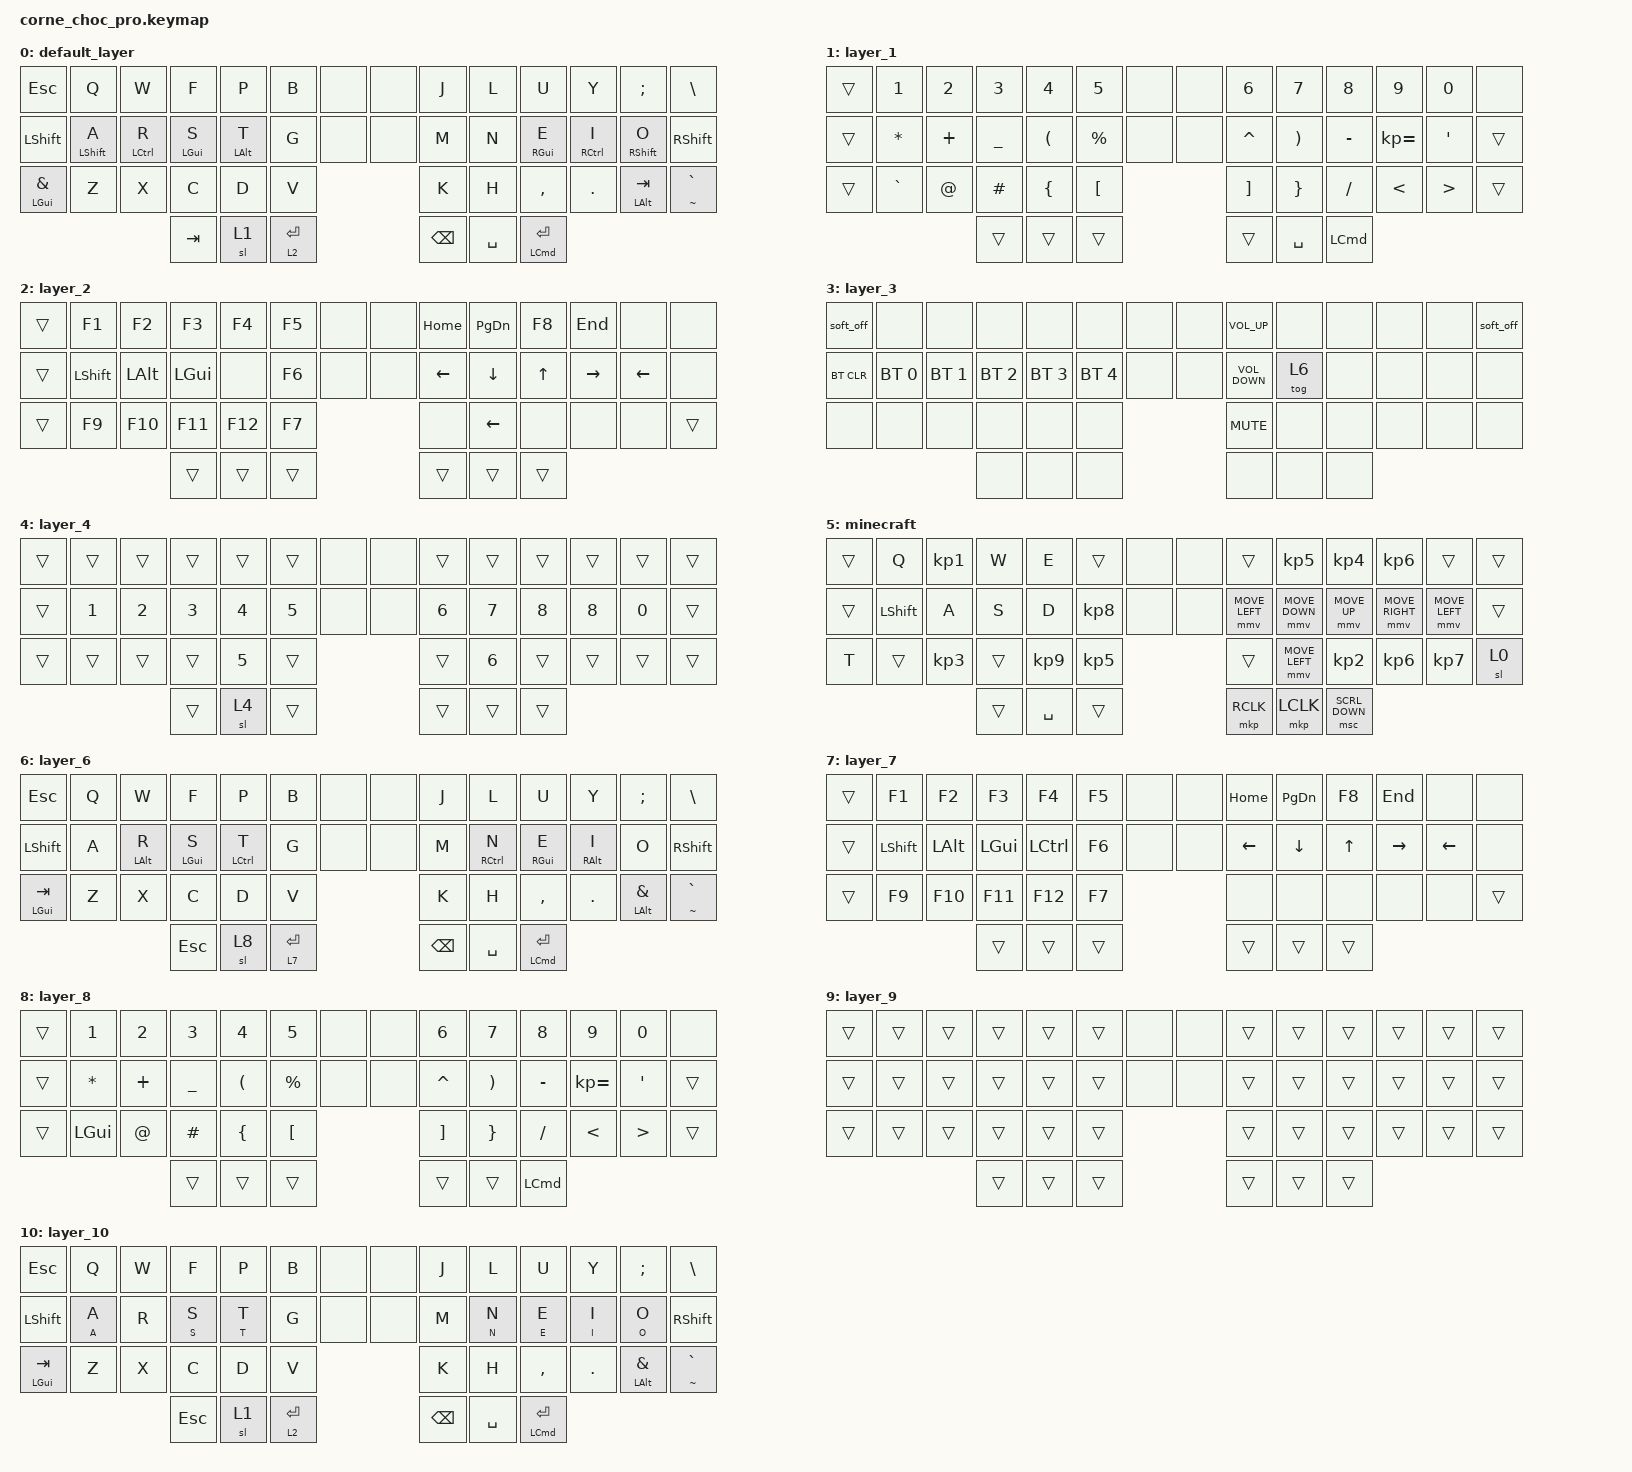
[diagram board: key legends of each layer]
/*
 * Copyright (c) 2020 The ZMK Contributors
 *
 * SPDX-License-Identifier: MIT
 */

#include <dt-bindings/zmk/mouse.h>
#include <behaviors.dtsi>
#include <dt-bindings/zmk/bt.h>
#include <dt-bindings/zmk/keys.h>
#include <dt-bindings/zmk/pointing.h>

#define ZMK_POINTING_DEFAULT_MOVE_VAL 1500
#define ZMK_POINTING_DEFAULT_SCRL_VAL 20

/ {
    chosen { zmk,physical-layout = &default_layout; };
};

/ {
    behaviors {
        mt_index_left: mt_index_left {
            compatible = "zmk,behavior-hold-tap";
            label = "MT_INDEX_LEFT";
            #binding-cells = <2>;
            tapping-term-ms = <500>;
            require-prior-idle-ms = <100>;
            flavor = "tap-preferred";
            quick-tap-ms = <50>;
            bindings = <&kp>, <&kp>;
        };

        mt_index_right: mt_index_right {
            compatible = "zmk,behavior-hold-tap";
            label = "MT_INDEX_RIGHT";
            #binding-cells = <2>;
            tapping-term-ms = <500>;
            require-prior-idle-ms = <100>;
            flavor = "tap-preferred";
            quick-tap-ms = <50>;
            bindings = <&kp>, <&kp>;
        };

        backspace_delete: backspace_delete {
            compatible = "zmk,behavior-mod-morph";
            label = "BACKSPACE_DELETE";
            bindings = <&kp BACKSPACE>, <&kp DELETE>;

            #binding-cells = <0>;
            mods = <(MOD_LSFT)>;
        };

        capslock_layer1: capslock_layer1 {
            compatible = "zmk,behavior-tap-dance";
            label = "CAPSLOCK_LAYER1";
            #binding-cells = <0>;
            bindings = <&mo 1>, <&kp CAPSLOCK>;
        };
    };

    /*
     * Position map (46-key default_layout):
     * Row 1:  0   1   2   3   4   5  [6   7]  8   9  10  11  12  13
     * Row 2: 14  15  16  17  18  19  [20  21] 22  23  24  25  26  27
     * Row 3: 28  29  30  31  32  33              34  35  36  37  38  39
     * Thumb: 40  41  42                          43  44  45
     * [6,7] and [20,21] are the extra center keys, bound to &none
     *
     * Original 42-key → new position remapping:
     *   Row1 left  (0-5):   same
     *   Row1 right (6-11):  +2  → 8-13
     *   Row2 left  (12-17): +2  → 14-19
     *   Row2 right (18-23): +4  → 22-27
     *   Row3       (24-35): +4  → 28-39
     *   Thumbs     (36-41): +4  → 40-45
     */

    combos {
        compatible = "zmk,combos";
        combo_timeout = <25>;

        mo_layer3 {
            bindings = <&mo 3>;
            key-positions = <41 42>;   /* was <37 38> thumbs left 1,2 */
        };

        layer-3-right {
            bindings = <&mo 3>;
            key-positions = <43 44>;   /* was <39 40> thumbs right 0,1 */
        };

        lparen {
            bindings = <&kp QUESTION>;
            key-positions = <18 17>;   /* was <16 15> row2 left cols 4,3 */
            timeout-ms = <20>;
        };

        exclam {
            bindings = <&kp EXCLAMATION>;
            key-positions = <23 24>;   /* was <19 20> row2 right cols 1,2 */
            timeout-ms = <20>;
        };

        backslash {
            bindings = <&kp BACKSLASH>;
            key-positions = <18 23>;   /* was <16 19> */
            timeout-ms = <20>;
        };

        dollar {
            bindings = <&kp DOLLAR>;
            key-positions = <17 24>;   /* was <15 20> */
            timeout-ms = <20>;
        };

        pipe {
            bindings = <&kp PIPE>;
            key-positions = <15 26>;   /* was <13 22> row2 cols 1,10 */
            timeout-ms = <20>;
        };

        tab {
            bindings = <&kp TAB>;
            key-positions = <44 40>;   /* was <40 36> thumbs right1, left0 */
            timeout-ms = <20>;
        };

        minecraffft {
            bindings = <&tog 5>;
            key-positions = <14 27>;   /* was <12 23> row2 cols 0,11 */
        };

        actuallymct {
            bindings = <&to 10>;
            key-positions = <2 16 17 3>;  /* was <2 14 15 3> */
        };

        esc {
            bindings = <&kp ESC>;
            key-positions = <17 23>;   /* was <15 19> */
        };
    };

    macros {
        teleport: teleport {
            compatible = "zmk,behavior-macro";
            #binding-cells = <0>;
            bindings = <&mkp RCLK &mkp RCLK &mkp RCLK>;
            label = "TELEPORT";
        };
    };

    keymap {
        compatible = "zmk,keymap";

        /* Each row1 and row2 has 14 bindings (6 left + 2 none + 6 right).
         * Row3 has 12 (6 left + 6 right, no center gap in binding array).
         * Thumbs: 3 left + 3 right = 6. Total: 46. */

        default_layer {
            bindings = <
&kp ESC                 &kp Q                        &kp W                   &kp F                      &kp P                  &kp B        &none  &none  &kp J          &kp L      &kp U                       &kp Y                   &kp SEMICOLON                  &kp BACKSLASH
&kp LEFT_SHIFT          &mt_index_left LEFT_SHIFT A  &mt_index_left LCTRL R  &mt_index_left LEFT_GUI S  &mt_index_left LALT T  &kp G        &none  &none  &kp M          &kp N      &mt_index_left RIGHT_GUI E  &mt_index_left RCTRL I  &mt_index_right RIGHT_SHIFT O  &kp RIGHT_SHIFT
&mt LEFT_GUI AMPERSAND  &kp Z                        &kp X                   &kp C                      &kp D                  &kp V                      &kp K          &kp H      &kp COMMA                   &kp DOT                 &mt LEFT_ALT TAB               &mt TILDE GRAVE
                                                                             &kp TAB                    &sl 1                  &lt 2 ENTER                &kp BACKSPACE  &kp SPACE  &mt LEFT_COMMAND ENTER
            >;
        };

        layer_1 {
            bindings = <
&trans  &kp NUMBER_1  &kp NUMBER_2  &kp NUMBER_3  &kp NUMBER_4          &kp N5            &none  &none  &kp NUMBER_6       &kp N7                 &kp N8     &kp N9        &kp N0            &none
&trans  &kp STAR      &kp PLUS      &kp UNDER     &kp LEFT_PARENTHESIS  &kp PERCENT       &none  &none  &kp CARET          &kp RIGHT_PARENTHESIS  &kp MINUS  &kp KP_EQUAL  &kp SINGLE_QUOTE  &trans
&trans  &kp GRAVE     &kp AT        &kp POUND     &kp LEFT_BRACE        &kp LEFT_BRACKET                &kp RIGHT_BRACKET  &kp RIGHT_BRACE        &kp FSLH   &kp LT        &kp GT            &trans
                                    &trans        &trans                &trans                          &trans             &kp SPACE              &kp LCMD
            >;
        };

        layer_2 {
            bindings = <
&trans  &kp F1          &kp F2        &kp F3        &kp F4   &kp F5  &none  &none  &kp HOME  &kp PAGE_DOWN   &kp F8        &kp END    &none           &none
&trans  &kp LEFT_SHIFT  &kp LEFT_ALT  &kp LEFT_GUI  &none    &kp F6  &none  &none  &kp LEFT  &kp DOWN_ARROW  &kp UP_ARROW  &kp RIGHT  &kp LEFT_ARROW  &none
&trans  &kp F9          &kp F10       &kp F11       &kp F12  &kp F7                &none     &kp LEFT_ARROW  &none         &none      &none           &trans
                                      &trans        &trans   &trans                &trans    &trans          &trans
            >;
        };

        layer_3 {
            bindings = <
&soft_off   &none         &none         &none         &none         &none         &none  &none  &kp C_VOLUME_UP    &none   &none  &none  &none  &soft_off
&bt BT_CLR  &bt BT_SEL 0  &bt BT_SEL 1  &bt BT_SEL 2  &bt BT_SEL 3  &bt BT_SEL 4  &none  &none  &kp C_VOLUME_DOWN  &tog 6  &none  &none  &none  &none
&none       &none         &none         &none         &none         &none                       &kp K_MUTE         &none   &none  &none  &none  &none
                                        &none         &none         &none                       &none              &none   &none
            >;
        };

        layer_4 {
            bindings = <
&trans  &trans        &trans        &trans        &trans        &trans  &none  &none  &trans        &trans        &trans        &trans  &trans  &trans
&trans  &kp NUMBER_1  &kp NUMBER_2  &kp NUMBER_3  &kp NUMBER_4  &kp N5  &none  &none  &kp NUMBER_6  &kp N7        &kp NUMBER_8  &kp N8  &kp N0  &trans
&trans  &trans        &trans        &trans        &kp NUMBER_5  &trans                &trans        &kp NUMBER_6  &trans        &trans  &trans  &trans
                                    &trans        &sl 4         &trans                &trans        &trans        &trans
            >;
        };

        minecraft {
            bindings = <
&trans  &kp Q           &kp KP_NUMBER_1  &kp W   &kp E            &trans           &none  &none  &trans          &kp KP_NUMBER_5  &kp KP_N4        &kp KP_NUMBER_6  &trans          &trans
&trans  &kp LEFT_SHIFT  &kp A            &kp S   &kp D            &kp KP_NUMBER_8  &none  &none  &mmv MOVE_LEFT  &mmv MOVE_DOWN   &mmv MOVE_UP     &mmv MOVE_RIGHT  &mmv MOVE_LEFT  &trans
&kp T   &trans          &kp KP_NUMBER_3  &trans  &kp KP_NUMBER_9  &kp KP_NUMBER_5                &trans          &mmv MOVE_LEFT   &kp KP_NUMBER_2  &kp KP_N6        &kp KP_N7       &sl 0
                                         &trans  &kp SPACE        &trans                         &mkp RCLK       &mkp LCLK        &msc SCRL_DOWN
            >;
        };

        layer_6 {
            bindings = <
&kp ESC           &kp Q  &kp W                  &kp F                      &kp P                   &kp B        &none  &none  &kp J          &kp L                   &kp U                       &kp Y                  &kp SEMICOLON           &kp BACKSLASH
&kp LEFT_SHIFT    &kp A  &mt_index_left LALT R  &mt_index_left LEFT_GUI S  &mt_index_left LCTRL T  &kp G        &none  &none  &kp M          &mt_index_left RCTRL N  &mt_index_left RIGHT_GUI E  &mt_index_left RALT I  &kp O                   &kp RIGHT_SHIFT
&mt LEFT_GUI TAB  &kp Z  &kp X                  &kp C                      &kp D                   &kp V                      &kp K          &kp H                   &kp COMMA                   &kp DOT                &mt LEFT_ALT AMPERSAND  &mt TILDE GRAVE
                                                &kp ESCAPE                 &sl 8                   &lt 7 ENTER                &kp BACKSPACE  &kp SPACE               &mt LEFT_COMMAND ENTER
            >;
        };

        layer_7 {
            bindings = <
&trans  &kp F1          &kp F2        &kp F3        &kp F4     &kp F5  &none  &none  &kp HOME  &kp PAGE_DOWN   &kp F8        &kp END    &none           &none
&trans  &kp LEFT_SHIFT  &kp LEFT_ALT  &kp LEFT_GUI  &kp LCTRL  &kp F6  &none  &none  &kp LEFT  &kp DOWN_ARROW  &kp UP_ARROW  &kp RIGHT  &kp LEFT_ARROW  &none
&trans  &kp F9          &kp F10       &kp F11       &kp F12    &kp F7                &none     &none           &none         &none      &none           &trans
                                      &trans        &trans     &trans                &trans    &trans          &trans
            >;
        };

        layer_8 {
            bindings = <
&trans  &kp NUMBER_1  &kp NUMBER_2  &kp NUMBER_3  &kp NUMBER_4          &kp N5            &none  &none  &kp NUMBER_6       &kp N7                 &kp N8     &kp N9        &kp N0            &none
&trans  &kp STAR      &kp PLUS      &kp UNDER     &kp LEFT_PARENTHESIS  &kp PERCENT       &none  &none  &kp CARET          &kp RIGHT_PARENTHESIS  &kp MINUS  &kp KP_EQUAL  &kp SINGLE_QUOTE  &trans
&trans  &kp LEFT_GUI  &kp AT        &kp POUND     &kp LEFT_BRACE        &kp LEFT_BRACKET                &kp RIGHT_BRACKET  &kp RIGHT_BRACE        &kp FSLH   &kp LT        &kp GT            &trans
                                    &trans        &trans                &trans                          &trans             &trans                 &kp LCMD
            >;
        };

        layer_9 {
            bindings = <
&trans  &trans  &trans  &trans  &trans  &trans  &none  &none  &trans  &trans  &trans  &trans  &trans  &trans
&trans  &trans  &trans  &trans  &trans  &trans  &none  &none  &trans  &trans  &trans  &trans  &trans  &trans
&trans  &trans  &trans  &trans  &trans  &trans                &trans  &trans  &trans  &trans  &trans  &trans
                        &trans  &trans  &trans                &trans  &trans  &trans
            >;
        };

        layer_10 {
            bindings = <
&kp ESC           &kp Q               &kp W  &kp F               &kp P               &kp B        &none  &none  &kp J          &kp L               &kp U                   &kp Y               &kp SEMICOLON           &kp BACKSLASH
&kp LEFT_SHIFT    &mt_index_left A A  &kp R  &mt_index_left S S  &mt_index_left T T  &kp G        &none  &none  &kp M          &mt_index_left N N  &mt_index_left E E      &mt_index_left I I  &mt_index_right O O     &kp RIGHT_SHIFT
&mt LEFT_GUI TAB  &kp Z               &kp X  &kp C               &kp D               &kp V                      &kp K          &kp H               &kp COMMA               &kp DOT             &mt LEFT_ALT AMPERSAND  &mt TILDE GRAVE
                                             &kp ESCAPE          &sl 1               &lt 2 ENTER                &kp BACKSPACE  &kp SPACE           &mt LEFT_COMMAND ENTER
            >;
        };
    };
};
